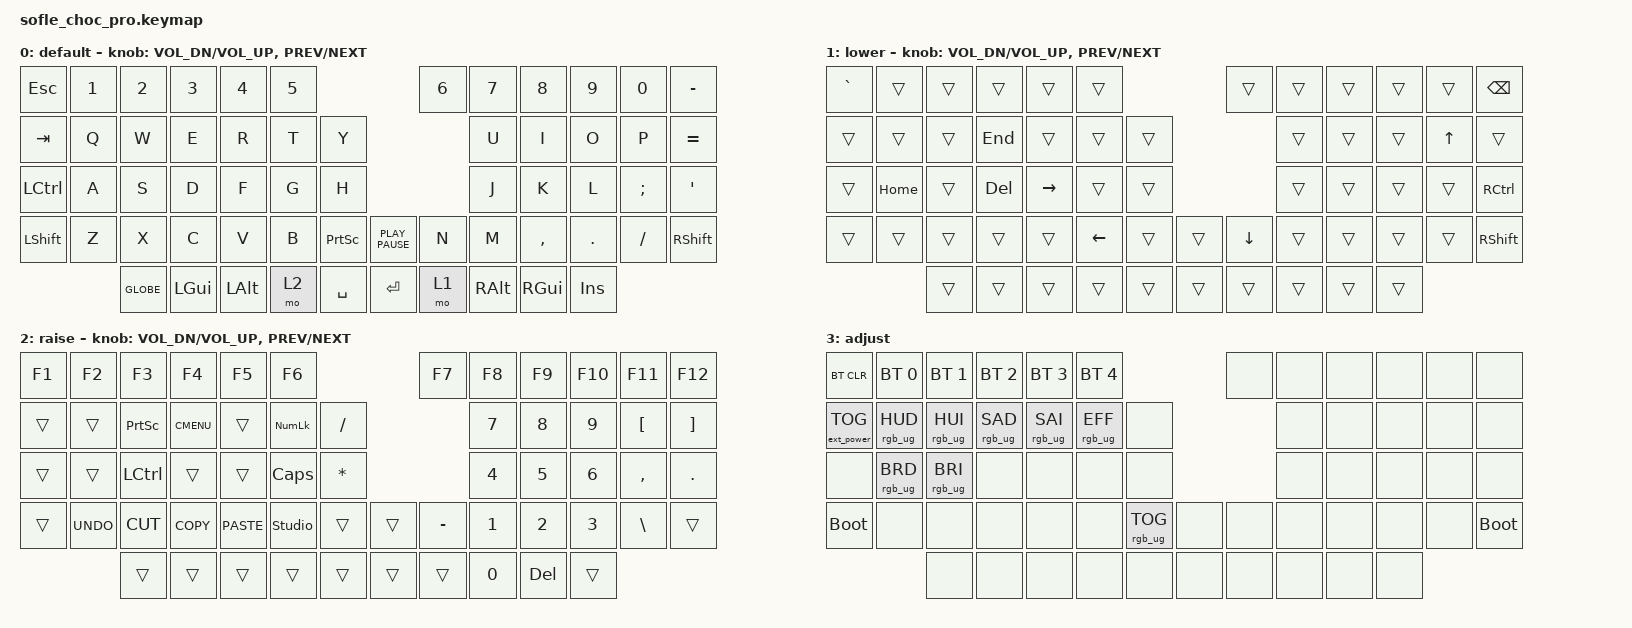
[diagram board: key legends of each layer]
/*
* Copyright (c) 2020 The ZMK Contributors
*
* SPDX-License-Identifier: MIT
*/

#include <behaviors.dtsi>
#include <dt-bindings/zmk/bt.h>
#include <dt-bindings/zmk/ext_power.h>
#include <dt-bindings/zmk/keys.h>
#include <dt-bindings/zmk/rgb.h>

#define BASE 0
#define LOWER 1
#define RAISE 2
#define ADJUST 3

/ {
    // Activate ADJUST layer by pressing raise and lower

    conditional_layers {
        compatible = "zmk,conditional-layers";

        adjust_layer {
            if-layers = <LOWER RAISE>;
            then-layer = <ADJUST>;
        };
    };

    keymap {
        compatible = "zmk,keymap";

        default_layer {
            display-name = "default";

            // ------------------------------------------------------------------------------------------------------------
            // |   `   |  1  |  2  |  3   |  4   |  5   |                   |  6   |  7    |  8    |  9   |   0   |   `   |
            // |  ESC  |  Q  |  W  |  E   |  R   |  T   |                   |  Y   |  U    |  I    |  O   |   P   | BKSPC |
            // |  TAB  |  A  |  S  |  D   |  F   |  G   |                   |  H   |  J    |  K    |  L   |   ;   |   '   |
            // | SHIFT |  Z  |  X  |  C   |  V   |  B   |  MUTE  |  | PLAY  |  N   |  M    |  ,    |  .   |   /   | SHIFT |
            //               | GUI | ALT  | CTRL | LOWER|  ENTER |  | SPACE | RAISE| CTRL  | ALT   | GUI  |

            bindings = <
&kp ESCAPE  &kp N1  &kp N2     &kp N3    &kp N4    &kp N5                                     &kp N6  &kp N7    &kp N8     &kp N9   &kp N0    &kp MINUS
&kp TAB     &kp Q   &kp W      &kp E     &kp R     &kp T   &kp Y                                      &kp U     &kp I      &kp O    &kp P     &kp EQUAL
&kp LCTRL   &kp A   &kp S      &kp D     &kp F     &kp G   &kp H                                      &kp J     &kp K      &kp L    &kp SEMI  &kp SQT
&kp LSHFT   &kp Z   &kp X      &kp C     &kp V     &kp B   &kp PRINTSCREEN  &kp K_PLAY_PAUSE  &kp N   &kp M     &kp COMMA  &kp DOT  &kp FSLH  &kp RSHFT
                    &kp GLOBE  &kp LGUI  &kp LALT  &mo 2   &kp SPACE        &kp ENTER         &mo 1   &kp RALT  &kp RGUI   &kp INS
            >;

            sensor-bindings = <&inc_dec_kp C_VOL_DN C_VOL_UP &inc_dec_kp C_PREV C_NEXT>;
        };

        lower_layer {
            display-name = "lower";

            // ------------------------------------------------------------------------------------------------------------
            // |       |  F1 |  F2 |  F3  |  F4  |  F5  |                   |  F6  |  F7   |  F8   |  F9  |  F10  |  F11  |
            // |   `   |  1  |  2  |  3   |  4   |  5   |                   |  6   |  7    |  8    |  9   |   0   |  F12  |
            // |       |  !  |  @  |  #   |  $   |  %   |                   |  ^   |  &    |  *    |  (   |   )   |   |   |
            // |       |  =  |  -  |  +   |  {   |  }   |        |  |       |  [   |  ]    |  ;    |  :   |   \   |       |
            //               |     |      |      |      |        |  |       |      |       |       |      |

            bindings = <
&kp GRAVE  &trans    &trans  &trans   &trans           &trans                    &trans          &trans  &trans  &trans  &trans        &kp BACKSPACE
&trans     &trans    &trans  &kp END  &trans           &trans    &trans                          &trans  &trans  &trans  &kp UP_ARROW  &trans
&trans     &kp HOME  &trans  &kp DEL  &kp RIGHT_ARROW  &trans    &trans                          &trans  &trans  &trans  &trans        &kp RCTRL
&trans     &trans    &trans  &trans   &trans           &kp LEFT  &trans  &trans  &kp DOWN_ARROW  &trans  &trans  &trans  &trans        &kp RIGHT_SHIFT
                     &trans  &trans   &trans           &trans    &trans  &trans  &trans          &trans  &trans  &trans
            >;

            sensor-bindings = <&inc_dec_kp C_VOL_DN C_VOL_UP &inc_dec_kp C_PREV C_NEXT>;
        };

        raise_layer {
            display-name = "raise";

            // ------------------------------------------------------------------------------------------------------------
            // | BTCLR | BT1  | BT2  |  BT3  |  BT4  |  BT5 |                |      |      |       |      |       |       |
            // |       | INS  | PSCR | GUI   |       |      |                | PGUP |      |   ^   |      |       |       |
            // |       | ALT  | CTRL | SHIFT |       | CAPS |                | PGDN |   <- |   v   |  ->  |  DEL  | BKSPC |
            // |       | UNDO | CUT  | COPY  | PASTE | STUD |      |  |      |      |      |       |      |       |       |
            //                |      |       |       |      |      |  |      |      |      |       |      |

            bindings = <
&kp F1  &kp F2      &kp F3     &kp F4       &kp F5       &kp F6                            &kp F7     &kp F8  &kp F9   &kp F10  &kp F11    &kp F12
&trans  &trans      &kp PSCRN  &kp K_CMENU  &trans       &kp KP_NUMLOCK  &kp FSLH                     &kp N7  &kp N8   &kp N9   &kp LBKT   &kp RBKT
&trans  &trans      &kp LCTRL  &trans       &trans       &kp CLCK        &kp STAR                     &kp N4  &kp N5   &kp N6   &kp COMMA  &kp DOT
&trans  &kp K_UNDO  &kp K_CUT  &kp K_COPY   &kp K_PASTE  &studio_unlock  &trans    &trans  &kp MINUS  &kp N1  &kp N2   &kp N3   &kp BSLH   &trans
                    &trans     &trans       &trans       &trans          &trans    &trans  &trans     &kp N0  &kp DEL  &trans
            >;

            sensor-bindings = <&inc_dec_kp C_VOL_DN C_VOL_UP &inc_dec_kp C_PREV C_NEXT>;
        };

        adjust_layer {
            // ----------------------------------------------------------------------------------------------------------------------------
            // | BTCLR  |  BT1    |  BT2    |   BT3   |   BT4   |   BT5   |                  |      |      |       |      |       |       |
            // | EXTPWR | RGB_HUD | RGB_HUI | RGB_SAD | RGB_SAI | RGB_EFF |                  |      |      |       |      |       |       |
            // |        | RGB_BRD | RGB_BRI |         |         |         |                  |      |      |       |      |       |       |
            // |        |         |         |         |         |         | RGB_TOG | |      |      |      |       |      |       |       |
            //                    |         |         |         |         |         | |      |      |      |       |      |

            display-name = "adjust";
            bindings = <
&bt BT_CLR         &bt BT_SEL 0     &bt BT_SEL 1     &bt BT_SEL 2     &bt BT_SEL 3     &bt BT_SEL 4                             &none  &none  &none  &none  &none  &none
&ext_power EP_TOG  &rgb_ug RGB_HUD  &rgb_ug RGB_HUI  &rgb_ug RGB_SAD  &rgb_ug RGB_SAI  &rgb_ug RGB_EFF  &none                          &none  &none  &none  &none  &none
&none              &rgb_ug RGB_BRD  &rgb_ug RGB_BRI  &none            &none            &none            &none                          &none  &none  &none  &none  &none
&bootloader        &none            &none            &none            &none            &none            &rgb_ug RGB_TOG  &none  &none  &none  &none  &none  &none  &bootloader
                                    &none            &none            &none            &none            &none            &none  &none  &none  &none  &none
            >;
        };
    };
};
